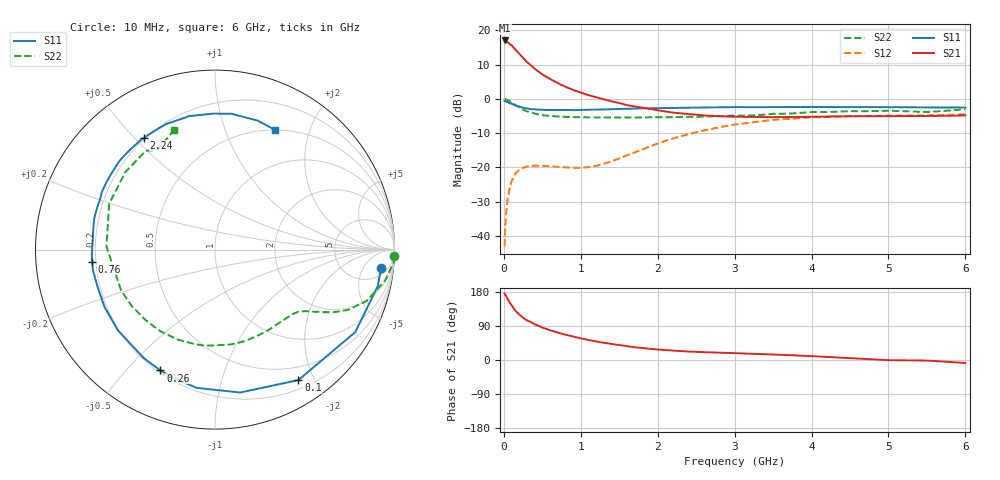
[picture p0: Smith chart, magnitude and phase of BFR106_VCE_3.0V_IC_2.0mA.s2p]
! Infineon Technologies  Discrete & RF Semiconductors
! BFR106
! VCE =  3.0 V,  IC =  2.0 mA
! Common Emitter S-Parameters:  Nov 2015
# GHz  S  MA  R  50
!  f  S11  S21  S12  S22
! GHz  MAG  ANG  MAG  ANG  MAG  ANG  MAG  ANG
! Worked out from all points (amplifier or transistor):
!   210 points, 10 MHz to 6 GHz, reference 50 ohm
!   highest |S21| = 17.0 dB at 10 MHz (marker M1)
!   |S21| within 3 dB of that: start of sweep to 164.4 MHz
!   unconditionally stable (mu >= 1): 778.1 MHz to 2.036 GHz; 3.394 GHz to 3.415 GHz; 3.512 GHz to end of sweep
!   at 185 MHz: K = 0.24, MSG = 17.3 dB, |S12| = -21.0 dB
!   at 1.52 GHz: K = 1.22, MAG = 5.1 dB, |S12| = -17.2 dB
!   at 6 GHz: K = 1.02, MAG = -1.1 dB, |S12| = -4.5 dB
!   S11 on the Smith chart (normalised r, x): 10 MHz: 8, -13; 100 MHz: 0.31, -1.78; 260 MHz: 0.21, -0.63; 760 MHz: 0.19, -0.05; 2.24 GHz: 0.19, +0.53; 6 GHz: 0.50, +1.50
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0.01  0.9313 -6.2  7.099 175.4  0.0071 88.0  0.9985 -2.2
0.025  0.9195 -15.5  6.954 170.3  0.0181 78.5  0.9902 -5.4
0.05  0.9069 -30.4  6.713 160.2  0.0351 72.9  0.963 -10.3
0.1  0.8627 -57.4  6.072 144.3  0.0627 59.5  0.8918 -18.7
0.15  0.8087 -80.0  5.232 129.9  0.0811 48.3  0.8138 -24.4
0.2  0.7771 -97.7  4.566 120.0  0.0922 41.1  0.7495 -27.7
0.26  0.739 -114.3  3.853 109.9  0.0996 34.5  0.6866 -30.5
0.3  0.7231 -123.2  3.446 104.7  0.1028 31.7  0.6574 -31.8
0.4  0.7034 -140.3  2.752 94.3  0.106 26.6  0.6082 -34.3
0.5  0.6937 -152.6  2.267 85.6  0.1056 24.4  0.5781 -36.8
0.6  0.6863 -162.8  1.943 78.5  0.1041 24.2  0.5624 -39.8
0.76  0.6872 -174.4  1.575 69.2  0.1006 26.9  0.5482 -45.2
1.02  0.6888 169.5  1.211 56.3  0.099 37.8  0.5382 -55.0
1.3  0.6991 156.5  0.982 45.4  0.1131 53.0  0.5343 -67.2
1.6  0.7152 144.6  0.809 36.2  0.1493 63.6  0.5352 -81.3
2.02  0.7313 129.4  0.675 27.4  0.2264 65.8  0.538 -102.9
2.24  0.7383 122.3  0.623 24.2  0.2721 63.5  0.542 -114.7
3.1  0.7556 98.9  0.546 17.4  0.4346 45.3  0.5684 -161.8
3.5  0.7576 90.7  0.54 14.7  0.4944 36.1  0.6049 178.4
4.1  0.7603 81.9  0.549 9.2  0.541 22.7  0.6413 153.0
5.1  0.755 70.7  0.559 -0.6  0.5683 6.3  0.6657 124.0
6  0.7457 63.3  0.573 -7.8  0.5958 -4.5  0.704 109.0
